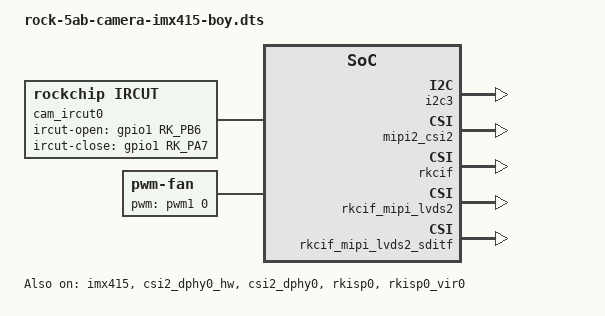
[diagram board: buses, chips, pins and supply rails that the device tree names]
// ROCK 5A/5B Camera IMX415
/dts-v1/;
/plugin/;

#include <dt-bindings/gpio/gpio.h>
#include <dt-bindings/pinctrl/rockchip.h>

/ {
	fragment@0 {
		target-path = "/";

		__overlay__ {
			cam_ircut0: cam_ircut {
				status = "okay";
				compatible = "rockchip,ircut";
				ircut-open-gpios = <&gpio1 RK_PB6 GPIO_ACTIVE_HIGH>;
				ircut-close-gpios  = <&gpio1 RK_PA7 GPIO_ACTIVE_HIGH>;
				rockchip,camera-module-index = <0>;
				rockchip,camera-module-facing = "back";
			};
			fan: pwm-fan {
				status = "okay";
				compatible = "pwm-fan";
				#cooling-cells = <2>;
				pwms = <&pwm1 0 10000 0>;
				cooling-levels = <0 128 130 132 135 150>;
				rockchip,temp-trips = <
					50000	1
					55000	2
					60000	3
					65000	4
					70000	5
				>;
			};
		};
	};

	fragment@1 {
		target = <&i2c3>;

		__overlay__ {
			status = "okay";
		};
	};

	fragment@2 {
		target = <&imx415>;

		__overlay__ {
			status = "okay";
			pwdn-gpios = <&gpio4 RK_PA0 GPIO_ACTIVE_HIGH>;
			reset-gpios = <&gpio1 RK_PB0 GPIO_ACTIVE_LOW>;
			lens-focus = <&cam_ircut0>;
		};
	};

	fragment@3 {
		target = <&csi2_dphy0_hw>;

		__overlay__ {
			status = "okay";
		};
	};

	fragment@4 {
		target = <&csi2_dphy0>;

		__overlay__ {
			status = "okay";
		};
	};

	fragment@5 {
		target = <&mipi2_csi2>;

		__overlay__ {
			status = "okay";
		};
	};

	fragment@6 {
		target = <&rkcif>;

		__overlay__ {
			status = "okay";
		};
	};

	fragment@7 {
		target = <&rkcif_mipi_lvds2>;

		__overlay__ {
			status = "okay";
		};
	};

	fragment@8 {
		target = <&rkcif_mipi_lvds2_sditf>;

		__overlay__ {
			status = "okay";
		};
	};

	fragment@9 {
		target = <&rkcif_mmu>;

		__overlay__ {
			status = "okay";
		};
	};

	fragment@10 {
		target = <&isp0_mmu>;

		__overlay__ {
			status = "okay";
		};
	};

	fragment@11 {
		target = <&rkisp0>;

		__overlay__ {
			status = "okay";
		};
	};

	fragment@12 {
		target = <&rkisp0_vir0>;

		__overlay__ {
			status = "okay";
		};
	};
};
